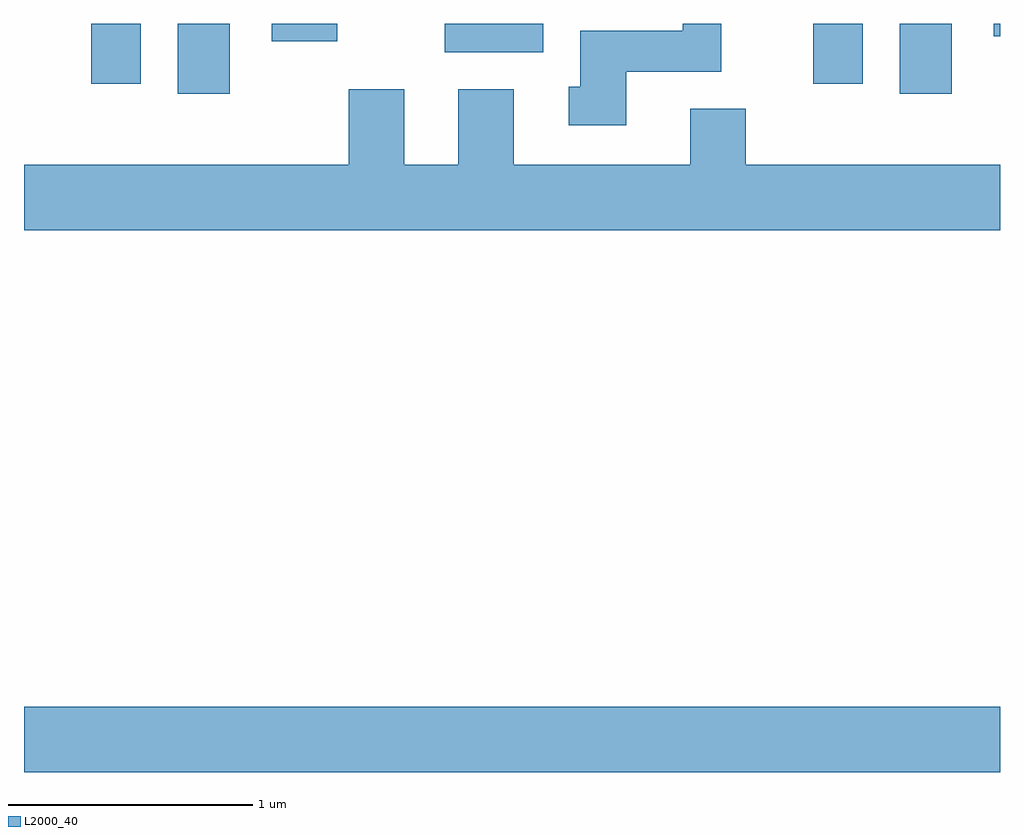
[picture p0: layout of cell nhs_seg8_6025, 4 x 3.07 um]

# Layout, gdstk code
import gdstk
lib = gdstk.Library(unit=1e-6, precision=1e-09)
def R(c, l, rs):  # rectangles x0, y0, x1, y1
    for r in rs: c.add(gdstk.rectangle(r[:2], r[2:], *l))
def P(c, l, *ps):  # polygons
    for p in ps: c.add(gdstk.Polygon(p, *l))
L2000_40 = (2000, 40)

nhs_seg8_6025 = lib.new_cell('nhs_seg8_6025')
R(nhs_seg8_6025, L2000_40, [(365.611,1865.276,369.611,1865.544), (366.241,1868.056,366.454,1868.342), (369.201,1868.056,369.414,1868.342), (365.886,1868.096,366.089,1868.342), (368.846,1868.096,369.049,1868.342), (367.336,1868.226,367.739,1868.342), (366.626,1868.271,366.894,1868.342), (369.586,1868.291,369.611,1868.342)])
P(nhs_seg8_6025, L2000_40, [(368.079,1868.146),(368.469,1868.146),(368.469,1868.342),(368.311,1868.342),(368.311,1868.314),(367.891,1868.314),(367.891,1868.084),(367.843,1868.084),(367.843,1867.926),(368.079,1867.926)],
  [(369.611,1867.764),(368.569,1867.764),(368.569,1867.994),(368.341,1867.994),(368.341,1867.764),(367.619,1867.764),(367.619,1868.074),(367.391,1868.074),(367.391,1867.764),(367.169,1867.764),(367.169,1868.074),(366.941,1868.074),(366.941,1867.764),(365.611,1867.764),(365.611,1867.496),(369.611,1867.496)])

lib.write_gds('nhs_seg8_6025.gds')
